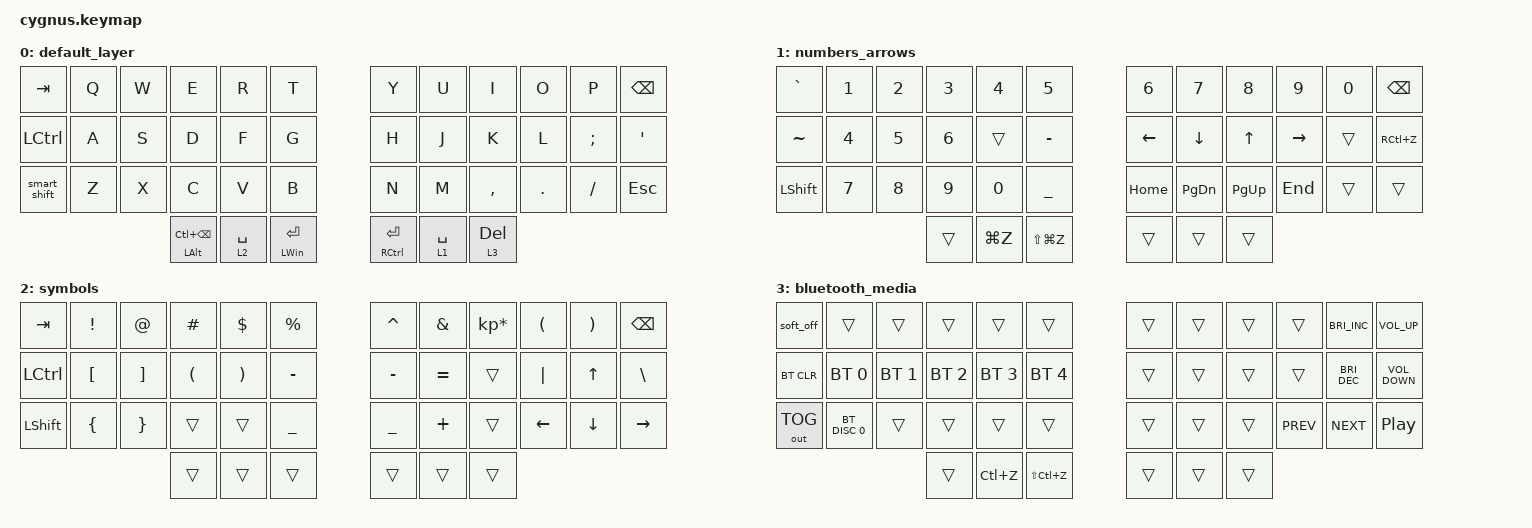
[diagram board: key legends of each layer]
/*
 * Copyright (c) 2020 The ZMK Contributors
 *
 * SPDX-License-Identifier: MIT
 */

#include <behaviors.dtsi>
#include <dt-bindings/zmk/bt.h>
#include <dt-bindings/zmk/keys.h>
#include <dt-bindings/zmk/outputs.h>

/ {
    behaviors {
        smart_shift: smart_shift {
            compatible = "zmk,behavior-mod-morph";
            label = "SMART_SHIFT";
            bindings = <&sk LSHFT>, <&caps_word>;

            #binding-cells = <0>;
            mods = <(MOD_LSFT)>;
        };
    };

    keymap {
        compatible = "zmk,keymap";

        default_layer {
            // -----------------------------------------------------------------------------------------
            // |  TAB |  Q  |  W  |  E  |  R  |  T  |   |  Y  |  U   |  I  |  O  |  P  | BKSP |
            // | CTRL |  A  |  S  |  D  |  F  |  G  |   |  H  |  J   |  K  |  L  |  ;  |  '   |
            // | SHFT |  Z  |  X  |  C  |  V  |  B  |   |  N  |  M   |  ,  |  .  |  /  | ESC  |
            //                    | GUI | LWR | SPC |   | ENT | RSE  | ALT |

            bindings = <
&kp TAB       &kp Q  &kp W  &kp E                       &kp R        &kp T                 &kp Y            &kp U        &kp I         &kp O    &kp P     &kp BACKSPACE
&kp LCTRL     &kp A  &kp S  &kp D                       &kp F        &kp G                 &kp H            &kp J        &kp K         &kp L    &kp SEMI  &kp APOSTROPHE
&smart_shift  &kp Z  &kp X  &kp C                       &kp V        &kp B                 &kp N            &kp M        &kp COMMA     &kp DOT  &kp FSLH  &kp ESC
                            &mt LEFT_ALT LC(BACKSPACE)  &lt 2 SPACE  &mt LEFT_WIN ENTER    &mt RCTRL ENTER  &lt 1 SPACE  &lt 3 DELETE
            >;
        };

        numbers_arrows {
            // -----------------------------------------------------------------------------------------
            // |  TAB |  1  |  2  |  3  |  4  |  5  |   |  6  |  7  |  8  |  9  |  0  | BKSP |
            // | BTCLR| BT1 | BT2 | BT3 | BT4 | BT5 |   | LFT | DWN |  UP | RGT |     |      |
            // | SHFT |     |     |     |     |     |   |     |     |     |     |     |      |
            //                    | GUI |     | SPC |   | ENT |     | ALT |

            bindings = <
&kp GRAVE  &kp N1        &kp N2  &kp N3  &kp N4     &kp N5            &kp N6          &kp N7         &kp N8        &kp N9     &kp N0  &kp BACKSPACE
&kp TILDE  &kp NUMBER_4  &kp N5  &kp N6  &trans     &kp MINUS         &kp LEFT_ARROW  &kp DOWN       &kp UP_ARROW  &kp RIGHT  &trans  &kp RC(Z)
&kp LSHFT  &kp N7        &kp N8  &kp N9  &kp N0     &kp UNDERSCORE    &kp HOME        &kp PAGE_DOWN  &kp PAGE_UP   &kp END    &trans  &trans
                                 &trans  &kp LG(Z)  &kp LS(LG(Z))     &trans          &trans         &trans
            >;
        };

        symbols {
            // -----------------------------------------------------------------------------------------
            // |  TAB |  !  |  @  |  #  |  $  |  %  |   |  ^  |  &  |  *  |  (  |  )  | BKSP |
            // | CTRL |     |     |     |     |     |   |  -  |  =  |  [  |  ]  |  \  |  `   |
            // | SHFT |     |     |     |     |     |   |  _  |  +  |  {  |  }  | "|" |  ~   |
            //                    | GUI |     | SPC |   | ENT |     | ALT |

            bindings = <
&kp TAB    &kp EXCL          &kp AT             &kp HASH              &kp DLLR               &kp PRCNT    &kp CARET  &kp AMPS   &kp KP_MULTIPLY  &kp LPAR  &kp RPAR      &kp BACKSPACE
&kp LCTRL  &kp LEFT_BRACKET  &kp RIGHT_BRACKET  &kp LEFT_PARENTHESIS  &kp RIGHT_PARENTHESIS  &kp MINUS    &kp MINUS  &kp EQUAL  &trans           &kp PIPE  &kp UP_ARROW  &kp BACKSLASH
&kp LSHFT  &kp LEFT_BRACE    &kp RIGHT_BRACE    &trans                &trans                 &kp UNDER    &kp UNDER  &kp PLUS   &trans           &kp LEFT  &kp DOWN      &kp RIGHT
                                                &trans                &trans                 &trans       &trans     &trans     &trans
            >;
        };

        bluetooth_media {
            bindings = <
&soft_off     &trans         &trans        &trans        &trans        &trans           &trans  &trans  &trans  &trans      &kp C_BRIGHTNESS_INC  &kp C_VOLUME_UP
&bt BT_CLR    &bt BT_SEL 0   &bt BT_SEL 1  &bt BT_SEL 2  &bt BT_SEL 3  &bt BT_SEL 4     &trans  &trans  &trans  &trans      &kp C_BRIGHTNESS_DEC  &kp C_VOLUME_DOWN
&out OUT_TOG  &bt BT_DISC 0  &trans        &trans        &trans        &trans           &trans  &trans  &trans  &kp C_PREV  &kp C_NEXT            &kp C_PLAY_PAUSE
                                           &trans        &kp LC(Z)     &kp LS(LC(Z))    &trans  &trans  &trans
            >;
        };
    };
};
